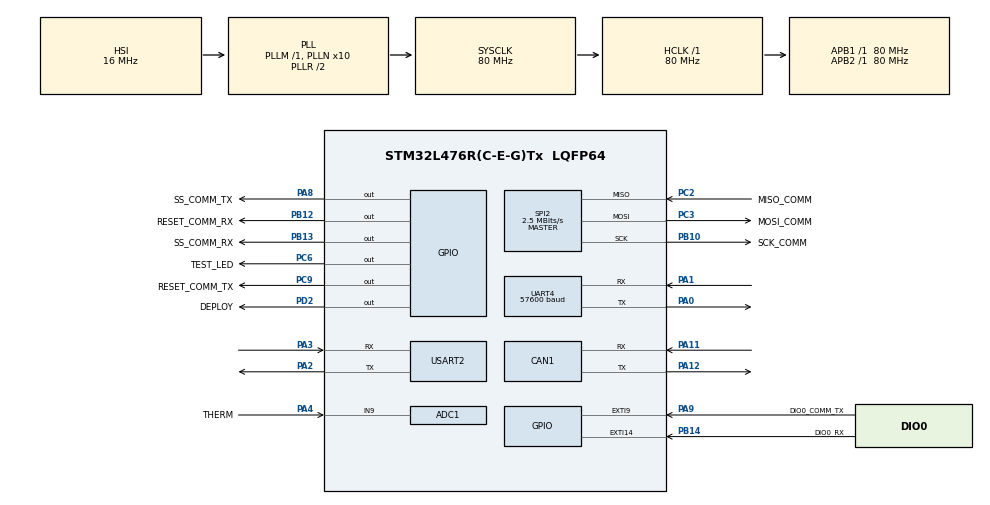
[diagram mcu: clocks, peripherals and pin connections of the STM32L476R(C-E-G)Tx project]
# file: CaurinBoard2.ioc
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ADC1.Channel-0\#ChannelRegularConversion=ADC_CHANNEL_9
ADC1.NbrOfConversionFlag=1
ADC1.OffsetNumber-0\#ChannelRegularConversion=ADC_OFFSET_NONE
ADC1.Rank-0\#ChannelRegularConversion=1
ADC1.SamplingTime-0\#ChannelRegularConversion=ADC_SAMPLETIME_2CYCLES_5
ADC1.master=1
CAN1.BS1=CAN_BS1_4TQ
CAN1.CalculateTimeQuantum=200.0
Mcu.Family=STM32L4
Mcu.Name=STM32L476R(C-E-G)Tx
Mcu.Package=LQFP64
NVIC.EXTI15_10_IRQn=true\:0\:0\:false\:false\:true\:true\:true
NVIC.EXTI9_5_IRQn=true\:0\:0\:false\:false\:true\:true\:true
NVIC.PriorityGroup=NVIC_PRIORITYGROUP_4
NVIC.UART4_IRQn=true\:0\:0\:false\:false\:true\:true\:true
PA0.Mode=Asynchronous
PA0.Signal=UART4_TX
PA1.Mode=Asynchronous
PA1.Signal=UART4_RX
PA11.Mode=Master
PA11.Signal=CAN1_RX
PA12.Mode=Master
PA12.Signal=CAN1_TX
PA13\ (JTMS-SWDIO).Mode=JTAG_5_pins
PA13\ (JTMS-SWDIO).Signal=SYS_JTMS-SWDIO
PA14\ (JTCK-SWCLK).Mode=JTAG_5_pins
PA14\ (JTCK-SWCLK).Signal=SYS_JTCK-SWCLK
PA15\ (JTDI).Mode=JTAG_5_pins
PA15\ (JTDI).Signal=SYS_JTDI
PA2.Mode=Asynchronous
PA2.Signal=USART2_TX
PA3.Mode=Asynchronous
PA3.Signal=USART2_RX
PA4.GPIO_Label=THERM
PA4.Signal=ADCx_IN9
PA8.GPIO_Label=SS_COMM_TX
PA8.PinState=GPIO_PIN_SET
PA8.Signal=GPIO_Output
PA9.GPIO_Label=DIO0_COMM_TX
PA9.Signal=GPXTI9
PB10.GPIO_Label=SCK_COMM
PB10.Mode=Full_Duplex_Master
PB10.Signal=SPI2_SCK
PB12.GPIO_Label=RESET_COMM_RX
PB12.PinState=GPIO_PIN_SET
PB12.Signal=GPIO_Output
PB13.GPIO_Label=SS_COMM_RX
PB13.PinState=GPIO_PIN_SET
PB13.Signal=GPIO_Output
PB14.GPIO_Label=DIO0_RX
PB14.Signal=GPXTI14
PB3\ (JTDO-TRACESWO).Mode=JTAG_5_pins
PB3\ (JTDO-TRACESWO).Signal=SYS_JTDO-SWO
PB4\ (NJTRST).Mode=JTAG_5_pins
PB4\ (NJTRST).Signal=SYS_JTRST
PC14-OSC32_IN\ (PC14).Mode=LSE-External-Oscillator
PC14-OSC32_IN\ (PC14).Signal=RCC_OSC32_IN
PC15-OSC32_OUT\ (PC15).Mode=LSE-External-Oscillator
PC15-OSC32_OUT\ (PC15).Signal=RCC_OSC32_OUT
PC2.GPIO_Label=MISO_COMM
PC2.Mode=Full_Duplex_Master
PC2.Signal=SPI2_MISO
PC3.GPIO_Label=MOSI_COMM
PC3.Mode=Full_Duplex_Master
PC3.Signal=SPI2_MOSI
PC6.GPIO_Label=TEST_LED
PC6.Signal=GPIO_Output
PC9.GPIO_Label=RESET_COMM_TX
PC9.PinState=GPIO_PIN_SET
PC9.Signal=GPIO_Output
PD2.GPIO_Label=DEPLOY
PD2.Signal=GPIO_Output
ProjectManager.HeapSize=0x200
ProjectManager.StackSize=0x400
ProjectManager.TargetToolchain=STM32CubeIDE
RCC.ADCFreq_Value=64000000
RCC.AHBFreq_Value=80000000
RCC.APB1Freq_Value=80000000
RCC.APB1TimFreq_Value=80000000
RCC.APB2Freq_Value=80000000
RCC.APB2TimFreq_Value=80000000
RCC.CortexFreq_Value=80000000
RCC.HCLKFreq_Value=80000000
RCC.HSE_VALUE=8000000
RCC.HSI_VALUE=16000000
RCC.MSI_VALUE=4000000
RCC.PLLN=10
RCC.PLLSourceVirtual=RCC_PLLSOURCE_HSI
RCC.SYSCLKFreq_VALUE=80000000
RCC.SYSCLKSource=RCC_SYSCLKSOURCE_PLLCLK
RCC.USBFreq_Value=64000000
RCC.VCOOutputFreq_Value=160000000
SH.ADCx_IN9.0=ADC1_IN9,IN9-Single-Ended
SPI2.BaudRatePrescaler=SPI_BAUDRATEPRESCALER_32
SPI2.CalculateBaudRate=2.5 MBits/s
SPI2.DataSize=SPI_DATASIZE_8BIT
SPI2.Direction=SPI_DIRECTION_2LINES
SPI2.Mode=SPI_MODE_MASTER
SPI2.VirtualType=VM_MASTER
TIM3.Period=0xffff
TIM3.Prescaler=79
UART4.BaudRate=57600
USART2.VirtualMode-Asynchronous=VM_ASYNC
VP_TIM3_VS_ClockSourceINT.Mode=Internal
board=custom

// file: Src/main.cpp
/* USER CODE BEGIN Header */
/**
 ******************************************************************************
 * @file           : main.c
 * @brief          : Main program body
 ******************************************************************************
 * @attention
 *
 * <h2><center>&copy; Copyright (c) 2020 STMicroelectronics.
 * All rights reserved.</center></h2>
 *
 * This software component is licensed by ST under BSD 3-Clause license,
 * the "License"; You may not use this file except in compliance with the
 * License. You may obtain a copy of the License at:
 *                        opensource.org/licenses/BSD-3-Clause
 *
 ******************************************************************************
 */
/* USER CODE END Header */

#include "main.h"

/* USER CODE BEGIN Includes */
#include "zSPI.h"
#include "RFM96.h"
#include <stdlib.h>
#include <string.h>
/* USER CODE END Includes */

ADC_HandleTypeDef hadc1;

CAN_HandleTypeDef hcan1;

SPI_HandleTypeDef hspi2;

TIM_HandleTypeDef htim3;

UART_HandleTypeDef huart4;
UART_HandleTypeDef huart2;

/* USER CODE BEGIN PV */
RFM96* rfmTX;
RFM96* rfmRX;

uint8_t TxData[10] = "Teste";
uint8_t buffer[255];
uint8_t val;
/* USER CODE END PV */

void SystemClock_Config(void);
static void MX_GPIO_Init(void);
static void MX_SPI2_Init(void);
static void MX_TIM3_Init(void);
static void MX_USART2_UART_Init(void);
static void MX_ADC1_Init(void);
static void MX_CAN1_Init(void);
static void MX_UART4_Init(void);

int main(void) {

	/* MCU Configuration--------------------------------------------------------*/

	/* Reset of all peripherals, Initializes the Flash interface and the Systick. */
	HAL_Init();

	/* Configure the system clock */
	SystemClock_Config();

	/* Initialize all configured peripherals */
	MX_GPIO_Init();
	MX_SPI2_Init();
	MX_TIM3_Init();
	MX_USART2_UART_Init();
	MX_ADC1_Init();
	MX_CAN1_Init();
	MX_UART4_Init();
	/* USER CODE BEGIN 2 */

//#define INVERT_RADIOS

	HAL_StatusTypeDef status = HAL_OK;

	//RX Config
	rfmRX = (RFM96*) malloc(sizeof(RFM96));
#ifndef INVERT_RADIOS
	status = RFM96_set_pins(rfmRX, hspi2, SS_COMM_RX_GPIO_Port, SS_COMM_RX_Pin, RESET_COMM_RX_GPIO_Port, RESET_COMM_RX_Pin);
#else
	status = RFM96_set_pins(rfmRX, hspi2, SS_COMM_TX_GPIO_Port, SS_COMM_TX_Pin, RESET_COMM_TX_GPIO_Port, RESET_COMM_TX_Pin);
#endif
	status = RFM96_init(rfmRX, 433.123E6, 0x12);
	status = RFM96_set_signal_bandwidth(rfmRX, RFM96_LORA_BW_125);
	status = RFM96_set_spreading_factor(rfmRX, 7);
	status = RFM96_enable_crc(rfmRX);
	status = RFM96_explicit_header_mode(rfmRX);
	status = RFM96_set_dio0(rfmRX, RFM96_LORA_DIO0_RX_DONE);
	status = RFM96_set_op_mode(rfmRX, RFM96_LORA_MODE_RX_CONT);

	//TX Config
	rfmTX = (RFM96*) malloc(sizeof(RFM96));
#ifndef INVERT_RADIOS
	status = RFM96_set_pins(rfmTX, hspi2, SS_COMM_TX_GPIO_Port, SS_COMM_TX_Pin, RESET_COMM_TX_GPIO_Port, RESET_COMM_TX_Pin);
#else
	status = RFM96_set_pins(rfmTX, hspi2, SS_COMM_RX_GPIO_Port, SS_COMM_RX_Pin, RESET_COMM_RX_GPIO_Port, RESET_COMM_RX_Pin);
#endif
	status = RFM96_init(rfmTX, 433.123E6, 0x12);
	status = RFM96_set_tx_power(rfmTX, 20, RFM96_LORA_PA_BOOST_PIN);
	status = RFM96_set_signal_bandwidth(rfmTX, RFM96_LORA_BW_125);
	status = RFM96_set_spreading_factor(rfmTX, 7);
	status = RFM96_enable_crc(rfmTX);

	/* USER CODE END 2 */

	/* Infinite loop */
	/* USER CODE BEGIN WHILE */
	int i;
	while (1) {
		i++;
		//status = HAL_UART_Receive(&huart2, vet, 10, 100);
		//HAL_UART_Abort(&huart2);
		//if(status == HAL_OK && vet[1] == 'C'){
		//HAL_UART_Transmit(&huart2, vet, 65536, 100);
		//HAL_UART_Abort(&huart2);
		//HAL_GPIO_TogglePin(TEST_LED_GPIO_Port, TEST_LED_Pin);
		//}
		//continue;
		//Teste LoRa com funcoes proprias
		//status = RFM96_send_packet(rfmTX, TxData, sizeof(TxData));
		//status = RFM96_read_packet(rfmRX, buffer, sizeof(buffer));
		//TxData[0]++;
		//if (status == HAL_OK) {
			//HAL_UART_Transmit(&huart2, RxData, sizeof(RxData), 100);
			//HAL_UART_Abort(&huart2);
			//HAL_GPIO_TogglePin(TEST_LED_GPIO_Port, TEST_LED_Pin);
		//}
		/* USER CODE END WHILE */

	}
}

void SystemClock_Config(void) {
	RCC_OscInitTypeDef RCC_OscInitStruct = { 0 };
	RCC_ClkInitTypeDef RCC_ClkInitStruct = { 0 };
	RCC_PeriphCLKInitTypeDef PeriphClkInit = { 0 };

	/** Initializes the CPU, AHB and APB busses clocks
	 */
	RCC_OscInitStruct.OscillatorType = RCC_OSCILLATORTYPE_HSI;
	RCC_OscInitStruct.HSIState = RCC_HSI_ON;
	RCC_OscInitStruct.HSICalibrationValue = RCC_HSICALIBRATION_DEFAULT;
	RCC_OscInitStruct.PLL.PLLState = RCC_PLL_ON;
	RCC_OscInitStruct.PLL.PLLSource = RCC_PLLSOURCE_HSI;
	RCC_OscInitStruct.PLL.PLLM = 1;
	RCC_OscInitStruct.PLL.PLLN = 10;
	RCC_OscInitStruct.PLL.PLLP = RCC_PLLP_DIV7;
	RCC_OscInitStruct.PLL.PLLQ = RCC_PLLQ_DIV2;
	RCC_OscInitStruct.PLL.PLLR = RCC_PLLR_DIV2;
	if (HAL_RCC_OscConfig(&RCC_OscInitStruct) != HAL_OK) {
		Error_Handler();
	}
	/** Initializes the CPU, AHB and APB busses clocks
	 */
	RCC_ClkInitStruct.ClockType = RCC_CLOCKTYPE_HCLK | RCC_CLOCKTYPE_SYSCLK
			| RCC_CLOCKTYPE_PCLK1 | RCC_CLOCKTYPE_PCLK2;
	RCC_ClkInitStruct.SYSCLKSource = RCC_SYSCLKSOURCE_PLLCLK;
	RCC_ClkInitStruct.AHBCLKDivider = RCC_SYSCLK_DIV1;
	RCC_ClkInitStruct.APB1CLKDivider = RCC_HCLK_DIV1;
	RCC_ClkInitStruct.APB2CLKDivider = RCC_HCLK_DIV1;

	if (HAL_RCC_ClockConfig(&RCC_ClkInitStruct, FLASH_LATENCY_4) != HAL_OK) {
		Error_Handler();
	}
	PeriphClkInit.PeriphClockSelection = RCC_PERIPHCLK_USART2
			| RCC_PERIPHCLK_UART4 | RCC_PERIPHCLK_ADC;
	PeriphClkInit.Usart2ClockSelection = RCC_USART2CLKSOURCE_PCLK1;
	PeriphClkInit.Uart4ClockSelection = RCC_UART4CLKSOURCE_PCLK1;
	PeriphClkInit.AdcClockSelection = RCC_ADCCLKSOURCE_PLLSAI1;
	PeriphClkInit.PLLSAI1.PLLSAI1Source = RCC_PLLSOURCE_HSI;
	PeriphClkInit.PLLSAI1.PLLSAI1M = 1;
	PeriphClkInit.PLLSAI1.PLLSAI1N = 8;
	PeriphClkInit.PLLSAI1.PLLSAI1P = RCC_PLLP_DIV7;
	PeriphClkInit.PLLSAI1.PLLSAI1Q = RCC_PLLQ_DIV2;
	PeriphClkInit.PLLSAI1.PLLSAI1R = RCC_PLLR_DIV2;
	PeriphClkInit.PLLSAI1.PLLSAI1ClockOut = RCC_PLLSAI1_ADC1CLK;
	if (HAL_RCCEx_PeriphCLKConfig(&PeriphClkInit) != HAL_OK) {
		Error_Handler();
	}
	/** Configure the main internal regulator output voltage
	 */
	if (HAL_PWREx_ControlVoltageScaling(PWR_REGULATOR_VOLTAGE_SCALE1)
			!= HAL_OK) {
		Error_Handler();
	}
}

static void MX_ADC1_Init(void) {

	ADC_MultiModeTypeDef multimode = { 0 };
	ADC_ChannelConfTypeDef sConfig = { 0 };

	/** Common config
	 */
	hadc1.Instance = ADC1;
	hadc1.Init.ClockPrescaler = ADC_CLOCK_ASYNC_DIV1;
	hadc1.Init.Resolution = ADC_RESOLUTION_12B;
	hadc1.Init.DataAlign = ADC_DATAALIGN_RIGHT;
	hadc1.Init.ScanConvMode = ADC_SCAN_DISABLE;
	hadc1.Init.EOCSelection = ADC_EOC_SINGLE_CONV;
	hadc1.Init.LowPowerAutoWait = DISABLE;
	hadc1.Init.ContinuousConvMode = DISABLE;
	hadc1.Init.NbrOfConversion = 1;
	hadc1.Init.DiscontinuousConvMode = DISABLE;
	hadc1.Init.ExternalTrigConv = ADC_SOFTWARE_START;
	hadc1.Init.ExternalTrigConvEdge = ADC_EXTERNALTRIGCONVEDGE_NONE;
	hadc1.Init.DMAContinuousRequests = DISABLE;
	hadc1.Init.Overrun = ADC_OVR_DATA_PRESERVED;
	hadc1.Init.OversamplingMode = DISABLE;
	if (HAL_ADC_Init(&hadc1) != HAL_OK) {
		Error_Handler();
	}
	/** Configure the ADC multi-mode
	 */
	multimode.Mode = ADC_MODE_INDEPENDENT;
	if (HAL_ADCEx_MultiModeConfigChannel(&hadc1, &multimode) != HAL_OK) {
		Error_Handler();
	}
	/** Configure Regular Channel
	 */
	sConfig.Channel = ADC_CHANNEL_9;
	sConfig.Rank = ADC_REGULAR_RANK_1;
	sConfig.SamplingTime = ADC_SAMPLETIME_2CYCLES_5;
	sConfig.SingleDiff = ADC_SINGLE_ENDED;
	sConfig.OffsetNumber = ADC_OFFSET_NONE;
	sConfig.Offset = 0;
	if (HAL_ADC_ConfigChannel(&hadc1, &sConfig) != HAL_OK) {
		Error_Handler();
	}

}

static void MX_CAN1_Init(void) {

	hcan1.Instance = CAN1;
	hcan1.Init.Prescaler = 16;
	hcan1.Init.Mode = CAN_MODE_NORMAL;
	hcan1.Init.SyncJumpWidth = CAN_SJW_1TQ;
	hcan1.Init.TimeSeg1 = CAN_BS1_4TQ;
	hcan1.Init.TimeSeg2 = CAN_BS2_1TQ;
	hcan1.Init.TimeTriggeredMode = DISABLE;
	hcan1.Init.AutoBusOff = DISABLE;
	hcan1.Init.AutoWakeUp = DISABLE;
	hcan1.Init.AutoRetransmission = DISABLE;
	hcan1.Init.ReceiveFifoLocked = DISABLE;
	hcan1.Init.TransmitFifoPriority = DISABLE;
	if (HAL_CAN_Init(&hcan1) != HAL_OK) {
		Error_Handler();
	}

}

static void MX_SPI2_Init(void) {

	/* SPI2 parameter configuration*/
	hspi2.Instance = SPI2;
	hspi2.Init.Mode = SPI_MODE_MASTER;
	hspi2.Init.Direction = SPI_DIRECTION_2LINES;
	hspi2.Init.DataSize = SPI_DATASIZE_8BIT;
	hspi2.Init.CLKPolarity = SPI_POLARITY_LOW;
	hspi2.Init.CLKPhase = SPI_PHASE_1EDGE;
	hspi2.Init.NSS = SPI_NSS_SOFT;
	hspi2.Init.BaudRatePrescaler = SPI_BAUDRATEPRESCALER_32;
	hspi2.Init.FirstBit = SPI_FIRSTBIT_MSB;
	hspi2.Init.TIMode = SPI_TIMODE_DISABLE;
	hspi2.Init.CRCCalculation = SPI_CRCCALCULATION_DISABLE;
	hspi2.Init.CRCPolynomial = 7;
	hspi2.Init.CRCLength = SPI_CRC_LENGTH_DATASIZE;
	hspi2.Init.NSSPMode = SPI_NSS_PULSE_ENABLE;
	if (HAL_SPI_Init(&hspi2) != HAL_OK) {
		Error_Handler();
	}

}

static void MX_TIM3_Init(void) {

	TIM_ClockConfigTypeDef sClockSourceConfig = { 0 };
	TIM_MasterConfigTypeDef sMasterConfig = { 0 };

	htim3.Instance = TIM3;
	htim3.Init.Prescaler = 79;
	htim3.Init.CounterMode = TIM_COUNTERMODE_UP;
	htim3.Init.Period = 0xffff;
	htim3.Init.ClockDivision = TIM_CLOCKDIVISION_DIV1;
	htim3.Init.AutoReloadPreload = TIM_AUTORELOAD_PRELOAD_DISABLE;
	if (HAL_TIM_Base_Init(&htim3) != HAL_OK) {
		Error_Handler();
	}
	sClockSourceConfig.ClockSource = TIM_CLOCKSOURCE_INTERNAL;
	if (HAL_TIM_ConfigClockSource(&htim3, &sClockSourceConfig) != HAL_OK) {
		Error_Handler();
	}
	sMasterConfig.MasterOutputTrigger = TIM_TRGO_RESET;
	sMasterConfig.MasterSlaveMode = TIM_MASTERSLAVEMODE_DISABLE;
	if (HAL_TIMEx_MasterConfigSynchronization(&htim3, &sMasterConfig)
			!= HAL_OK) {
		Error_Handler();
	}

}

static void MX_UART4_Init(void) {

	huart4.Instance = UART4;
	huart4.Init.BaudRate = 57600;
	huart4.Init.WordLength = UART_WORDLENGTH_8B;
	huart4.Init.StopBits = UART_STOPBITS_1;
	huart4.Init.Parity = UART_PARITY_NONE;
	huart4.Init.Mode = UART_MODE_TX_RX;
	huart4.Init.HwFlowCtl = UART_HWCONTROL_NONE;
	huart4.Init.OverSampling = UART_OVERSAMPLING_16;
	huart4.Init.OneBitSampling = UART_ONE_BIT_SAMPLE_DISABLE;
	huart4.AdvancedInit.AdvFeatureInit = UART_ADVFEATURE_NO_INIT;
	if (HAL_UART_Init(&huart4) != HAL_OK) {
		Error_Handler();
	}

}

static void MX_USART2_UART_Init(void) {

	huart2.Instance = USART2;
	huart2.Init.BaudRate = 115200;
	huart2.Init.WordLength = UART_WORDLENGTH_8B;
	huart2.Init.StopBits = UART_STOPBITS_1;
	huart2.Init.Parity = UART_PARITY_NONE;
	huart2.Init.Mode = UART_MODE_TX_RX;
	huart2.Init.HwFlowCtl = UART_HWCONTROL_NONE;
	huart2.Init.OverSampling = UART_OVERSAMPLING_16;
	huart2.Init.OneBitSampling = UART_ONE_BIT_SAMPLE_DISABLE;
	huart2.AdvancedInit.AdvFeatureInit = UART_ADVFEATURE_NO_INIT;
	if (HAL_UART_Init(&huart2) != HAL_OK) {
		Error_Handler();
	}

}

static void MX_GPIO_Init(void) {
	GPIO_InitTypeDef GPIO_InitStruct = { 0 };

	/* GPIO Ports Clock Enable */
	__HAL_RCC_GPIOC_CLK_ENABLE()
	;
	__HAL_RCC_GPIOA_CLK_ENABLE()
	;
	__HAL_RCC_GPIOB_CLK_ENABLE()
	;
	__HAL_RCC_GPIOD_CLK_ENABLE()
	;

	/*Configure GPIO pin Output Level */
	HAL_GPIO_WritePin(GPIOB, RESET_COMM_RX_Pin | SS_COMM_RX_Pin, GPIO_PIN_SET);

	/*Configure GPIO pin Output Level */
	HAL_GPIO_WritePin(TEST_LED_GPIO_Port, TEST_LED_Pin, GPIO_PIN_RESET);

	/*Configure GPIO pin Output Level */
	HAL_GPIO_WritePin(RESET_COMM_TX_GPIO_Port, RESET_COMM_TX_Pin, GPIO_PIN_SET);

	/*Configure GPIO pin Output Level */
	HAL_GPIO_WritePin(SS_COMM_TX_GPIO_Port, SS_COMM_TX_Pin, GPIO_PIN_SET);

	/*Configure GPIO pin Output Level */
	HAL_GPIO_WritePin(DEPLOY_GPIO_Port, DEPLOY_Pin, GPIO_PIN_RESET);

	/*Configure GPIO pins : RESET_COMM_RX_Pin SS_COMM_RX_Pin */
	GPIO_InitStruct.Pin = RESET_COMM_RX_Pin | SS_COMM_RX_Pin;
	GPIO_InitStruct.Mode = GPIO_MODE_OUTPUT_PP;
	GPIO_InitStruct.Pull = GPIO_NOPULL;
	GPIO_InitStruct.Speed = GPIO_SPEED_FREQ_LOW;
	HAL_GPIO_Init(GPIOB, &GPIO_InitStruct);

	/*Configure GPIO pin : DIO0_RX_Pin */
	GPIO_InitStruct.Pin = DIO0_RX_Pin;
	GPIO_InitStruct.Mode = GPIO_MODE_IT_RISING;
	GPIO_InitStruct.Pull = GPIO_NOPULL;
	HAL_GPIO_Init(DIO0_RX_GPIO_Port, &GPIO_InitStruct);

	/*Configure GPIO pins : TEST_LED_Pin RESET_COMM_TX_Pin */
	GPIO_InitStruct.Pin = TEST_LED_Pin | RESET_COMM_TX_Pin;
	GPIO_InitStruct.Mode = GPIO_MODE_OUTPUT_PP;
	GPIO_InitStruct.Pull = GPIO_NOPULL;
	GPIO_InitStruct.Speed = GPIO_SPEED_FREQ_LOW;
	HAL_GPIO_Init(GPIOC, &GPIO_InitStruct);

	/*Configure GPIO pin : SS_COMM_TX_Pin */
	GPIO_InitStruct.Pin = SS_COMM_TX_Pin;
	GPIO_InitStruct.Mode = GPIO_MODE_OUTPUT_PP;
	GPIO_InitStruct.Pull = GPIO_NOPULL;
	GPIO_InitStruct.Speed = GPIO_SPEED_FREQ_LOW;
	HAL_GPIO_Init(SS_COMM_TX_GPIO_Port, &GPIO_InitStruct);

	/*Configure GPIO pin : DIO0_COMM_TX_Pin */
	GPIO_InitStruct.Pin = DIO0_COMM_TX_Pin;
	GPIO_InitStruct.Mode = GPIO_MODE_IT_RISING;
	GPIO_InitStruct.Pull = GPIO_NOPULL;
	HAL_GPIO_Init(DIO0_COMM_TX_GPIO_Port, &GPIO_InitStruct);

	/*Configure GPIO pin : DEPLOY_Pin */
	GPIO_InitStruct.Pin = DEPLOY_Pin;
	GPIO_InitStruct.Mode = GPIO_MODE_OUTPUT_PP;
	GPIO_InitStruct.Pull = GPIO_NOPULL;
	GPIO_InitStruct.Speed = GPIO_SPEED_FREQ_LOW;
	HAL_GPIO_Init(DEPLOY_GPIO_Port, &GPIO_InitStruct);

	/* EXTI interrupt init*/
	HAL_NVIC_SetPriority(EXTI9_5_IRQn, 0, 0);
	HAL_NVIC_EnableIRQ(EXTI9_5_IRQn);

	HAL_NVIC_SetPriority(EXTI15_10_IRQn, 0, 0);
	HAL_NVIC_EnableIRQ(EXTI15_10_IRQn);

}

void Error_Handler(void) {
}

/************************ (C) COPYRIGHT STMicroelectronics *****END OF FILE****/
